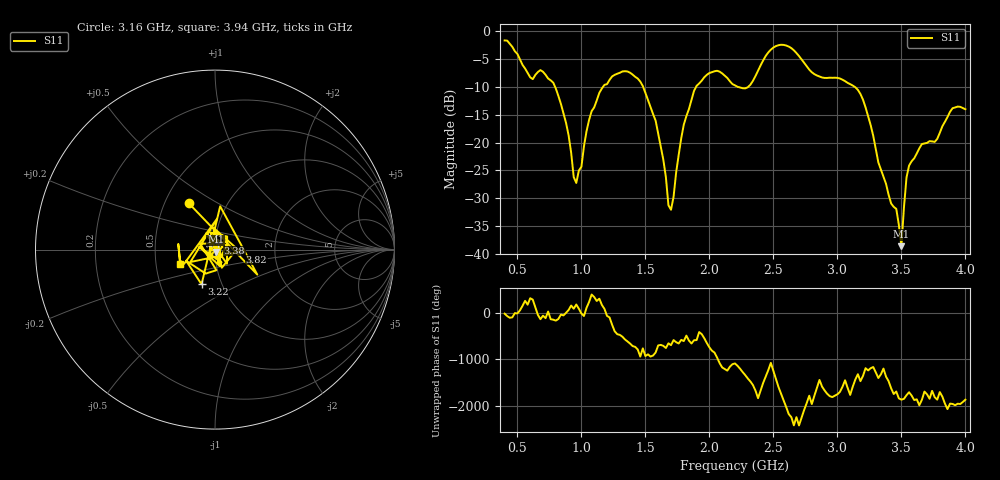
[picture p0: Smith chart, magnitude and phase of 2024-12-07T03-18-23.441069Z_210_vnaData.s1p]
!Created with skrf (http://scikit-rf.org).
# Hz S RI R 50.0
!freq ReS11 ImS11
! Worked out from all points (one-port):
!   181 points, 400 MHz to 4 GHz, reference 50 ohm
!   lowest |S11| = -38.6 dB at 3.5 GHz (marker M1), VSWR 1.02, Z = 50.4 - j1.1 ohm
!   |S11| at or under -10 dB: 795 MHz to 1.168 GHz (373 MHz wide, 38 % of centre); 1.483 GHz to 1.895 GHz (412.6 MHz wide, 24.4 % of centre); 3.137 GHz to end of sweep (the widest 3 of 4)
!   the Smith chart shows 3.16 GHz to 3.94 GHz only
!   S11 on the Smith chart (normalised r, x): 3.16 GHz: 0.66, +0.37; 3.22 GHz: 0.80, -0.32; 3.38 GHz: 1.03, +0.08; 3.82 GHz: 1.32, -0.03; 3.94 GHz: 0.67, -0.11
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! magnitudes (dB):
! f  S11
! 400 MHz  -1.6
! 600 MHz  -8.3
! 780 MHz  -9.2
! 860 MHz  -14.7
! 960 MHz  -27.3
! 1.08 GHz  -14.3
! 1.3 GHz  -7.4
! 1.5 GHz  -11.1
! 1.58 GHz  -16.1
! 1.7 GHz  -32.1
! 1.76 GHz  -22.2
! 1.9 GHz  -9.8
! 2.06 GHz  -7.1
! 2.2 GHz  -9.7
! 2.32 GHz  -9.6
! 2.5 GHz  -2.9
! 2.66 GHz  -3.4
! 3.1 GHz  -9.5
! 3.16 GHz  -10.5
! 3.22 GHz  -13.7
! 3.38 GHz  -27.4
! 3.46 GHz  -31.9
! 3.5 GHz  -38.6
! 3.54 GHz  -26.3
! 3.56 GHz  -24.1
! 3.82 GHz  -17.1
! 3.94 GHz  -13.5
! 4 GHz  -14.0
